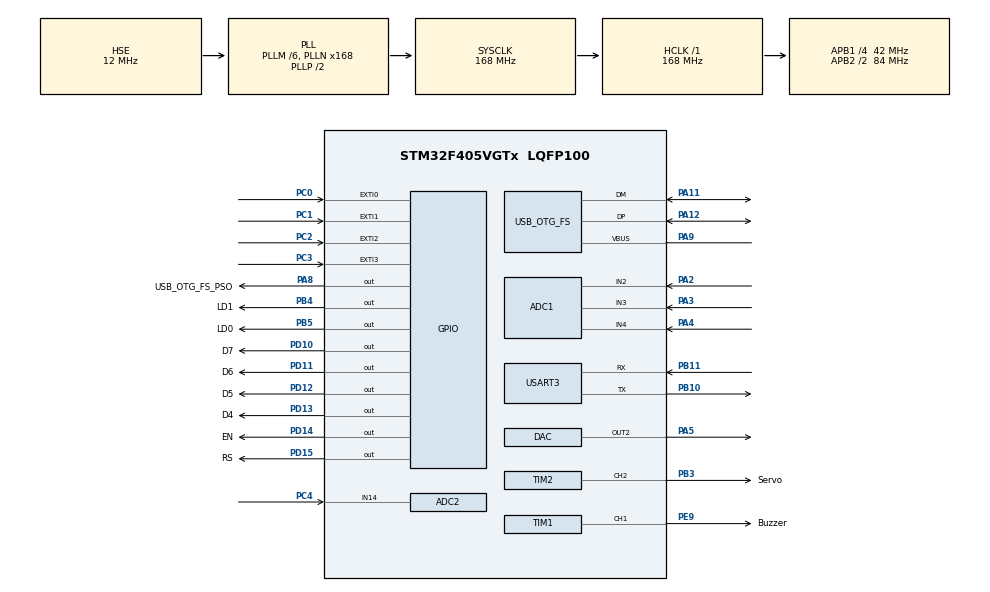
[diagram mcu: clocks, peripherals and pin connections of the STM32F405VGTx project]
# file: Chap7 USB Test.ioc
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ADC1.Channel-0\#ChannelRegularConversion=ADC_CHANNEL_2
ADC1.Channel-1\#ChannelRegularConversion=ADC_CHANNEL_3
ADC1.Channel-2\#ChannelRegularConversion=ADC_CHANNEL_4
ADC1.ClockPrescaler=ADC_CLOCK_SYNC_PCLK_DIV4
ADC1.ContinuousConvMode=ENABLE
ADC1.DMAContinuousRequests=ENABLE
ADC1.DiscontinuousConvMode=DISABLE
ADC1.EnableAnalogWatchDog=false
ADC1.InjNumberOfConversion=0
ADC1.NbrOfConversion=3
ADC1.NbrOfConversionFlag=1
ADC1.Rank-0\#ChannelRegularConversion=1
ADC1.Rank-1\#ChannelRegularConversion=2
ADC1.Rank-2\#ChannelRegularConversion=3
ADC1.SamplingTime-0\#ChannelRegularConversion=ADC_SAMPLETIME_84CYCLES
ADC1.SamplingTime-1\#ChannelRegularConversion=ADC_SAMPLETIME_84CYCLES
ADC1.SamplingTime-2\#ChannelRegularConversion=ADC_SAMPLETIME_84CYCLES
ADC1.ScanConvMode=ENABLE
ADC1.master=1
ADC2.Channel-1\#ChannelRegularConversion=ADC_CHANNEL_14
ADC2.ClockPrescaler=ADC_CLOCK_SYNC_PCLK_DIV4
ADC2.ContinuousConvMode=ENABLE
ADC2.DMAContinuousRequests=ENABLE
ADC2.NbrOfConversionFlag=1
ADC2.Rank-1\#ChannelRegularConversion=1
ADC2.SamplingTime-1\#ChannelRegularConversion=ADC_SAMPLETIME_84CYCLES
ADC2.ScanConvMode=DISABLE
Dma.ADC1.0.Direction=DMA_PERIPH_TO_MEMORY
Dma.ADC1.0.FIFOMode=DMA_FIFOMODE_DISABLE
Dma.ADC1.0.Instance=DMA2_Stream0
Dma.ADC1.0.MemDataAlignment=DMA_MDATAALIGN_HALFWORD
Dma.ADC1.0.MemInc=DMA_MINC_ENABLE
Dma.ADC1.0.Mode=DMA_CIRCULAR
Dma.ADC1.0.PeriphDataAlignment=DMA_PDATAALIGN_HALFWORD
Dma.ADC1.0.PeriphInc=DMA_PINC_DISABLE
Dma.ADC1.0.Priority=DMA_PRIORITY_LOW
Dma.ADC2.1.Direction=DMA_PERIPH_TO_MEMORY
Dma.ADC2.1.FIFOMode=DMA_FIFOMODE_DISABLE
Dma.ADC2.1.Instance=DMA2_Stream2
Dma.ADC2.1.MemDataAlignment=DMA_MDATAALIGN_HALFWORD
Dma.ADC2.1.MemInc=DMA_MINC_DISABLE
Dma.ADC2.1.Mode=DMA_CIRCULAR
Dma.ADC2.1.PeriphDataAlignment=DMA_PDATAALIGN_HALFWORD
Dma.ADC2.1.PeriphInc=DMA_PINC_DISABLE
Dma.ADC2.1.Priority=DMA_PRIORITY_LOW
Dma.Request0=ADC1
Dma.Request1=ADC2
FATFS._MAX_SS=4096
FATFS._USE_LFN=1
Mcu.Family=STM32F4
Mcu.Name=STM32F405VGTx
Mcu.Package=LQFP100
NVIC.DMA2_Stream0_IRQn=true\:0\:0\:false\:false\:true\:false\:true\:true
NVIC.DMA2_Stream2_IRQn=true\:0\:0\:false\:false\:true\:false\:true\:true
NVIC.EXTI0_IRQn=true\:0\:0\:false\:true\:true\:1\:true\:true\:true
NVIC.EXTI1_IRQn=true\:0\:0\:false\:true\:true\:2\:true\:true\:true
NVIC.EXTI2_IRQn=true\:0\:0\:false\:true\:true\:3\:true\:true\:true
NVIC.EXTI3_IRQn=true\:0\:0\:false\:true\:true\:7\:true\:true\:true
NVIC.OTG_FS_IRQn=true\:0\:0\:false\:false\:true\:false\:true\:true
NVIC.PriorityGroup=NVIC_PRIORITYGROUP_4
NVIC.TIM6_DAC_IRQn=true\:0\:0\:false\:true\:true\:5\:true\:true\:true
NVIC.TIM7_IRQn=true\:0\:0\:false\:true\:true\:6\:true\:true\:true
NVIC.USART3_IRQn=true\:0\:0\:false\:true\:true\:4\:true\:true\:true
PA11.Mode=Host_Only
PA11.Signal=USB_OTG_FS_DM
PA12.Mode=Host_Only
PA12.Signal=USB_OTG_FS_DP
PA2.Signal=ADCx_IN2
PA3.Signal=ADCx_IN3
PA4.Signal=ADCx_IN4
PA5.Signal=COMP_DAC2_group
PA8.GPIO_Label=USB_OTG_FS_PSO
PA8.Signal=GPIO_Output
PA9.Mode=Activate_VBUS
PA9.Signal=USB_OTG_FS_VBUS
PB10.Mode=Asynchronous
PB10.Signal=USART3_TX
PB11.Mode=Asynchronous
PB11.Signal=USART3_RX
PB3.GPIO_Label=Servo
PB3.Signal=S_TIM2_CH2
PB4.GPIO_Label=LD1
PB4.Signal=GPIO_Output
PB5.GPIO_Label=LD0
PB5.Signal=GPIO_Output
PC0.GPIO_ModeDefaultEXTI=GPIO_MODE_IT_FALLING
PC0.Signal=GPXTI0
PC1.GPIO_ModeDefaultEXTI=GPIO_MODE_IT_FALLING
PC1.Signal=GPXTI1
PC2.GPIO_ModeDefaultEXTI=GPIO_MODE_IT_FALLING
PC2.Signal=GPXTI2
PC3.Signal=GPXTI3
PC4.Signal=ADCx_IN14
PD10.GPIO_Label=D7
PD10.Signal=GPIO_Output
PD11.GPIO_Label=D6
PD11.Signal=GPIO_Output
PD12.GPIO_Label=D5
PD12.Signal=GPIO_Output
PD13.GPIO_Label=D4
PD13.Signal=GPIO_Output
PD14.GPIO_Label=EN
PD14.Signal=GPIO_Output
PD15.GPIO_Label=RS
PD15.Signal=GPIO_Output
PE9.GPIO_Label=Buzzer
PE9.Signal=S_TIM1_CH1
PH0-OSC_IN.Mode=HSE-External-Oscillator
PH0-OSC_IN.Signal=RCC_OSC_IN
PH1-OSC_OUT.Mode=HSE-External-Oscillator
PH1-OSC_OUT.Signal=RCC_OSC_OUT
ProjectManager.HeapSize=0x200
ProjectManager.StackSize=0x400
ProjectManager.TargetToolchain=STM32CubeIDE
RCC.48MHZClocksFreq_Value=48000000
RCC.AHBFreq_Value=168000000
RCC.APB1CLKDivider=RCC_HCLK_DIV4
RCC.APB1Freq_Value=42000000
RCC.APB1TimFreq_Value=84000000
RCC.APB2CLKDivider=RCC_HCLK_DIV2
RCC.APB2Freq_Value=84000000
RCC.APB2TimFreq_Value=168000000
RCC.CortexFreq_Value=168000000
RCC.HCLKFreq_Value=168000000
RCC.HSE_VALUE=12000000
RCC.HSI_VALUE=16000000
RCC.LSE_VALUE=32768
RCC.PLLM=6
RCC.PLLN=168
RCC.PLLQ=7
RCC.SYSCLKFreq_VALUE=168000000
RCC.SYSCLKSource=RCC_SYSCLKSOURCE_PLLCLK
RCC.VCOOutputFreq_Value=336000000
SH.ADCx_IN14.0=ADC2_IN14,IN14
SH.ADCx_IN2.0=ADC1_IN2,IN2
SH.ADCx_IN3.0=ADC1_IN3,IN3
SH.ADCx_IN4.0=ADC1_IN4,IN4
SH.COMP_DAC2_group.0=DAC_OUT2,DAC_OUT2
SH.S_TIM1_CH1.0=TIM1_CH1,PWM Generation1 CH1
SH.S_TIM2_CH2.0=TIM2_CH2,PWM Generation2 CH2
TIM1.Channel-PWM\ Generation1\ CH1=TIM_CHANNEL_1
TIM1.Period=999
TIM1.Prescaler=167
TIM1.Pulse-PWM\ Generation1\ CH1=500
TIM2.Channel-PWM\ Generation2\ CH2=TIM_CHANNEL_2
TIM2.Period=10000-1
TIM2.Prescaler=168-1
TIM2.Pulse-PWM\ Generation2\ CH2=100
TIM4.Prescaler=83
TIM6.AutoReloadPreload=TIM_AUTORELOAD_PRELOAD_DISABLE
TIM6.Period=10000-1
TIM6.Prescaler=8400-1
TIM7.Period=9999
TIM7.Prescaler=4200-1
USART3.VirtualMode=VM_ASYNC
USB_HOST.USBH_HandleTypeDef-MSC_FS=hUsbHostFS
USB_HOST.VirtualModeFS=Msc
USB_OTG_FS.Sof_enable=DISABLE
USB_OTG_FS.VirtualMode=Host_Only
USB_OTG_FS.phy_itface=HCD_PHY_EMBEDDED
VP_FATFS_VS_USB.Mode=USB
VP_TIM1_VS_ClockSourceINT.Mode=Internal
VP_TIM2_VS_ClockSourceINT.Mode=Internal
VP_TIM4_VS_ClockSourceINT.Mode=Internal
VP_TIM6_VS_ClockSourceINT.Mode=Enable_Timer
VP_TIM7_VS_ClockSourceINT.Mode=Enable_Timer
VP_USB_HOST_VS_USB_HOST_MSC_FS.Mode=MSC_FS
board=custom

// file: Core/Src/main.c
/* USER CODE BEGIN Header */
/**
  ******************************************************************************
  * @file           : main.c
  * @brief          : Main program body
  ******************************************************************************
  * @attention
  *
  * Copyright (c) 2025 STMicroelectronics.
  * All rights reserved.
  *
  * This software is licensed under terms that can be found in the LICENSE file
  * in the root directory of this software component.
  * If no LICENSE file comes with this software, it is provided AS-IS.
  *
  ******************************************************************************
  */
/* USER CODE END Header */
#include "main.h"
#include "adc.h"
#include "dac.h"
#include "dma.h"
#include "fatfs.h"
#include "tim.h"
#include "usart.h"
#include "usb_host.h"
#include "gpio.h"

/* USER CODE BEGIN Includes */
#include "stdio.h"
#include "string.h"
#include "CLCD.h"

/* USER CODE END Includes */

/* USER CODE BEGIN PM */
int _write(int file, char* p, int len){
	HAL_UART_Transmit(&huart3, p, len, 10);
	return len;
}

/* USER CODE END PM */

/* USER CODE BEGIN PV */
uint8_t rx_data = 0;
uint8_t lcd_flag = 0;

uint16_t adc1_val[3] = {0,};
uint16_t adc2_val = 0;

volatile uint8_t sw0_flag = 0;
volatile uint8_t sw1_flag = 0;
volatile uint8_t sw2_flag = 0;
volatile uint8_t sw3_flag = 0;

uint32_t bytesWritten, bytesRead;
extern ApplicationTypeDef Appli_state;

uint8_t str[21];

/* USER CODE END PV */

void SystemClock_Config(void);
static void MX_NVIC_Init(void);
void MX_USB_HOST_Process(void);

/* USER CODE BEGIN 0 */
long map(long x, long in_min, long in_max, long out_min, long out_max) {
  return (x - in_min) * (out_max - out_min) / (in_max - in_min) + out_min;
}

void MountUSB(void)
{
	FRESULT res = f_mount(&USBHFatFS, USBHPath, 0);
	if(res != FR_OK) Error_Handler();
}

void UnMountUSB(void)
{
	FRESULT res = f_mount(NULL, "", 0);
	if(res != FR_OK) Error_Handler();
}

void OpenFile(char *filename)
{
	FRESULT res = f_open(&USBHFile, filename, FA_OPEN_ALWAYS | FA_READ | FA_WRITE);
	if(res != FR_OK) Error_Handler();
}

void CloseFile()
{
	FRESULT res = f_close(&USBHFile);
	if(res != FR_OK) Error_Handler();
}

uint32_t ReadFile(uint8_t *buff, uint16_t len)
{
	memset(buff, 0, len);
	FRESULT res = f_read(&USBHFile, buff, len, (void*)&bytesRead);
	if(res != FR_OK) Error_Handler();

	return bytesRead;
}

uint32_t WriteFile(uint8_t *buff, uint16_t len)
{
	FRESULT res;
	res = f_lseek(&USBHFile, f_size(&USBHFile));
	if(res != FR_OK) Error_Handler();

	res = f_write(&USBHFile, buff, len, (void*)&bytesWritten);
	if(res != FR_OK) Error_Handler();

	return bytesWritten;
}

FRESULT DeleteFile(char *filename)
{
    FRESULT res = f_unlink(filename);
    return res;
}

/* USER CODE END 0 */

int main(void)
{

  /* MCU Configuration--------------------------------------------------------*/

  /* Reset of all peripherals, Initializes the Flash interface and the Systick. */
  HAL_Init();

  /* Configure the system clock */
  SystemClock_Config();

  /* Initialize all configured peripherals */
  MX_GPIO_Init();
  MX_DMA_Init();
  MX_USART3_UART_Init();
  MX_TIM4_Init();
  MX_ADC1_Init();
  MX_DAC_Init();
  MX_ADC2_Init();
  MX_TIM1_Init();
  MX_TIM6_Init();
  MX_TIM7_Init();
  MX_TIM2_Init();
  MX_FATFS_Init();
  MX_USB_HOST_Init();

  /* Initialize interrupts */
  MX_NVIC_Init();
  /* USER CODE BEGIN 2 */
  HAL_TIM_Base_Start_IT(&htim6);
//  HAL_TIM_Base_Start_IT(&htim7);

  lcd_Init(4, 20);
  lcd_setCurStr(0, 0, "boot..ok");
  HAL_Delay(3000);
  lcd_clear();

  /* USER CODE END 2 */

  /* Infinite loop */
  while (1)
  {
    MX_USB_HOST_Process();

    /* USER CODE BEGIN 3 */
    // 만약 USB 상태가 준비되었고 SW 0번이 눌렸다면
    if(Appli_state == APPLICATION_READY && sw0_flag)
	{
    	sw0_flag = 0;
    	lcd_clear();
    	lcd_setCurStr(0, 0, "USB Writing...");

    	// 1. USB Mount
    	MountUSB();

    	// 2. 파일 열기(없다면 새로 만든다.)
    	OpenFile("hello.txt");

    	// 3.파일에 데이터 쓰기
    	char *data = "Hello jmh8321";
    	WriteFile((uint8_t*) data, strlen(data));

    	// 4. 파일 닫기
    	CloseFile();

    	// 5. USB UnMount
    	UnMountUSB();

    	lcd_clear();
    	lcd_setCurStr(0, 0, "Done");
	}

    // 만약 USB 상태가 준비되었고 SW 1번이 눌렸다면
    if(Appli_state == APPLICATION_READY && sw1_flag)
	{
    	sw1_flag = 0;
    	lcd_clear();
    	lcd_setCurStr(0, 0, "USB Reading...");

    	// 1. USB Mount
    	MountUSB();

    	// 2. 파일 열기(없다면 새로 만든다.)
    	OpenFile("hello.txt");

    	// 3.파일 읽기
    	char read_buf[21] = {0,};
    	ReadFile((uint8_t*)read_buf, sizeof(read_buf) - 1);

    	// 4. 파일 닫기
    	CloseFile();

    	// 5. USB UnMount
    	UnMountUSB();

    	lcd_clear();
    	lcd_setCurStr(0, 0, "Read Data: ");
    	lcd_setCurStr(0, 1, read_buf);
	}

    // 만약 USB 상태가 준비되었고 SW 2번이 눌렸다면
    if(Appli_state == APPLICATION_READY && sw2_flag)
	{
    	sw2_flag = 0;

    	FRESULT res;

    	lcd_clear();
    	lcd_setCurStr(0, 0, "File Delete...");

    	// 1. USB Mount
    	MountUSB();

    	// 2. 삭제 시도
    	res = DeleteFile("jmh8231.txt");

    	// 3. USB UnMount
    	UnMountUSB();

    	// 4. 반환값에 따른 결과 출력
    	lcd_clear();
    	if(res == FR_OK)
    		lcd_setCurStr(0, 0, "Delete OK");
    	else if(res == FR_NO_FILE)
    		lcd_setCurStr(0, 0, "No File Found");
    	else
    		lcd_setCurStr(0, 0, "Error");
	}

    // 만약 sw3을 눌렀다면
    if(sw3_flag) {
        sw3_flag = 0;

        lcd_clear();
        lcd_setCurStr(0, 0, "Rebooting...");
        HAL_Delay(1000);

        NVIC_SystemReset();
    }
  }
  /* USER CODE END 3 */
}

void SystemClock_Config(void)
{
  RCC_OscInitTypeDef RCC_OscInitStruct = {0};
  RCC_ClkInitTypeDef RCC_ClkInitStruct = {0};

  /** Configure the main internal regulator output voltage
  */
  __HAL_RCC_PWR_CLK_ENABLE();
  __HAL_PWR_VOLTAGESCALING_CONFIG(PWR_REGULATOR_VOLTAGE_SCALE1);

  /** Initializes the RCC Oscillators according to the specified parameters
  * in the RCC_OscInitTypeDef structure.
  */
  RCC_OscInitStruct.OscillatorType = RCC_OSCILLATORTYPE_HSE;
  RCC_OscInitStruct.HSEState = RCC_HSE_ON;
  RCC_OscInitStruct.PLL.PLLState = RCC_PLL_ON;
  RCC_OscInitStruct.PLL.PLLSource = RCC_PLLSOURCE_HSE;
  RCC_OscInitStruct.PLL.PLLM = 6;
  RCC_OscInitStruct.PLL.PLLN = 168;
  RCC_OscInitStruct.PLL.PLLP = RCC_PLLP_DIV2;
  RCC_OscInitStruct.PLL.PLLQ = 7;
  if (HAL_RCC_OscConfig(&RCC_OscInitStruct) != HAL_OK)
  {
    Error_Handler();
  }

  /** Initializes the CPU, AHB and APB buses clocks
  */
  RCC_ClkInitStruct.ClockType = RCC_CLOCKTYPE_HCLK|RCC_CLOCKTYPE_SYSCLK
                              |RCC_CLOCKTYPE_PCLK1|RCC_CLOCKTYPE_PCLK2;
  RCC_ClkInitStruct.SYSCLKSource = RCC_SYSCLKSOURCE_PLLCLK;
  RCC_ClkInitStruct.AHBCLKDivider = RCC_SYSCLK_DIV1;
  RCC_ClkInitStruct.APB1CLKDivider = RCC_HCLK_DIV4;
  RCC_ClkInitStruct.APB2CLKDivider = RCC_HCLK_DIV2;

  if (HAL_RCC_ClockConfig(&RCC_ClkInitStruct, FLASH_LATENCY_5) != HAL_OK)
  {
    Error_Handler();
  }
}

/**
  * @brief NVIC Configuration.
  * @retval None
  */
static void MX_NVIC_Init(void)
{
  /* EXTI0_IRQn interrupt configuration */
  HAL_NVIC_SetPriority(EXTI0_IRQn, 0, 0);
  HAL_NVIC_EnableIRQ(EXTI0_IRQn);
  /* EXTI1_IRQn interrupt configuration */
  HAL_NVIC_SetPriority(EXTI1_IRQn, 0, 0);
  HAL_NVIC_EnableIRQ(EXTI1_IRQn);
  /* EXTI2_IRQn interrupt configuration */
  HAL_NVIC_SetPriority(EXTI2_IRQn, 0, 0);
  HAL_NVIC_EnableIRQ(EXTI2_IRQn);
  /* USART3_IRQn interrupt configuration */
  HAL_NVIC_SetPriority(USART3_IRQn, 0, 0);
  HAL_NVIC_EnableIRQ(USART3_IRQn);
  /* TIM6_DAC_IRQn interrupt configuration */
  HAL_NVIC_SetPriority(TIM6_DAC_IRQn, 0, 0);
  HAL_NVIC_EnableIRQ(TIM6_DAC_IRQn);
  /* TIM7_IRQn interrupt configuration */
  HAL_NVIC_SetPriority(TIM7_IRQn, 0, 0);
  HAL_NVIC_EnableIRQ(TIM7_IRQn);
  /* EXTI3_IRQn interrupt configuration */
  HAL_NVIC_SetPriority(EXTI3_IRQn, 0, 0);
  HAL_NVIC_EnableIRQ(EXTI3_IRQn);
}

/* USER CODE BEGIN 4 */
void HAL_GPIO_EXTI_Callback(uint16_t GPIO_Pin)
{
	if(GPIO_Pin == GPIO_PIN_0) {
		HAL_GPIO_TogglePin(LD0_GPIO_Port, LD0_Pin);
		sw0_flag = 1;
	}
	else if(GPIO_Pin == GPIO_PIN_1) {
		sw1_flag = 1;
		HAL_GPIO_TogglePin(LD0_GPIO_Port, LD0_Pin);

	}
	else if(GPIO_Pin == GPIO_PIN_2) {
		sw2_flag = 1;
		HAL_GPIO_TogglePin(LD0_GPIO_Port, LD0_Pin);
	}
	else if(GPIO_Pin == GPIO_PIN_3) {
		sw3_flag = 1;
		HAL_GPIO_TogglePin(LD0_GPIO_Port, LD0_Pin);
	}
}

void HAL_UART_RxCpltCallback(UART_HandleTypeDef *huart)
{
	if(huart->Instance == USART3) {
		HAL_UART_Receive_IT(&huart3, &rx_data, 1);
		HAL_UART_Transmit(&huart3, &rx_data, 1, 1000);
	}
}

void HAL_TIM_PeriodElapsedCallback(TIM_HandleTypeDef *htim)
{
	if(htim -> Instance == TIM6) {
		lcd_flag = 1;
	}
	if(htim -> Instance == TIM7) {

	}
}

/* USER CODE END 4 */

void Error_Handler(void)
{
  /* USER CODE BEGIN Error_Handler_Debug */
  /* User can add his own implementation to report the HAL error return state */
  __disable_irq();
  while (1)
  {
	  HAL_GPIO_TogglePin(LD1_GPIO_Port, LD1_Pin);
	  HAL_Delay(1000);
  }
  /* USER CODE END Error_Handler_Debug */
}
